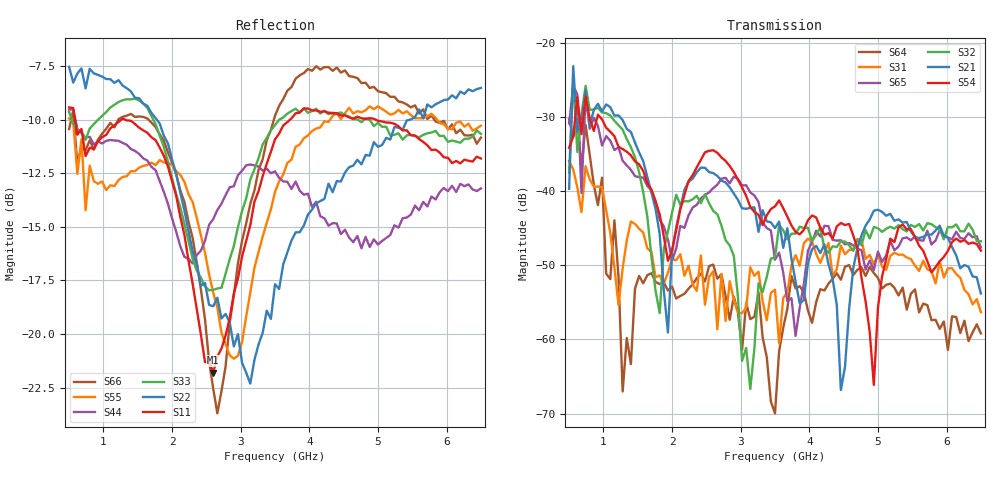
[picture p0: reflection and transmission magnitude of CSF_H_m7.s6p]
!Keysight Technologies,M9804A,MY58100912,A.14.10.03
!Date: Thursday, April 27, 2023 10:28:33
!Correction: S11(C  6-Port  )
!S12(C  6-Port  )
!S13(C  6-Port  )
!S14(C  6-Port  )
!S15(C  6-Port  )
!S16(C  6-Port  )
!S21(C  6-Port  )
!S22(C  6-Port  )
!S23(C  6-Port  )
!S24(C  6-Port  )
!S25(C  6-Port  )
!S26(C  6-Port  )
!S31(C  6-Port  )
!S32(C  6-Port  )
!S33(C  6-Port  )
!S34(C  6-Port  )
!S35(C  6-Port  )
!S36(C  6-Port  )
!S41(C  6-Port  )
!S42(C  6-Port  )
!S43(C  6-Port  )
!S44(C  6-Port  )
!S45(C  6-Port  )
!S46(C  6-Port  )
!S51(C  6-Port  )
!S52(C  6-Port  )
!S53(C  6-Port  )
!S54(C  6-Port  )
!S55(C  6-Port  )
!S56(C  6-Port  )
!S61(C  6-Port  )
!S62(C  6-Port  )
!S63(C  6-Port  )
!S64(C  6-Port  )
!S65(C  6-Port  )
!S66(C  6-Port  )
!S6P File: Measurement: :
# Hz S  RI  R 50
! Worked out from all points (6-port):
!   101 points, 500 MHz to 6.5 GHz, reference 50 ohm
!   strongest paths, dB at 500 MHz, 2 GHz, 3.5 GHz, 5 GHz, 6.5 GHz:
!     S54: -34.2, -48.1, -42.1, -55.8, -48.0
!     S21: -39.7, -48.1, -45.0, -42.5, -53.8
!     S32: -37.5, -42.9, -49.0, -45.0, -46.8
!     S65: -30.9, -49.4, -49.3, -48.2, -47.6
!     S31: -36.0, -49.2, -53.3, -48.6, -56.3
!     S64: -30.4, -52.9, -70.0, -51.7, -59.2
!   lowest |S11| = -21.8 dB at 2.6 GHz (marker M1), VSWR 1.18, Z = 42.7 + j1.89 ohm
!   |S11| at or under -10 dB: 585.9 MHz to 1.263 GHz (677.4 MHz wide, 73.3 % of centre); 1.311 GHz to 3.721 GHz (2.409 GHz wide, 95.8 % of centre); 4.964 GHz to end of sweep
